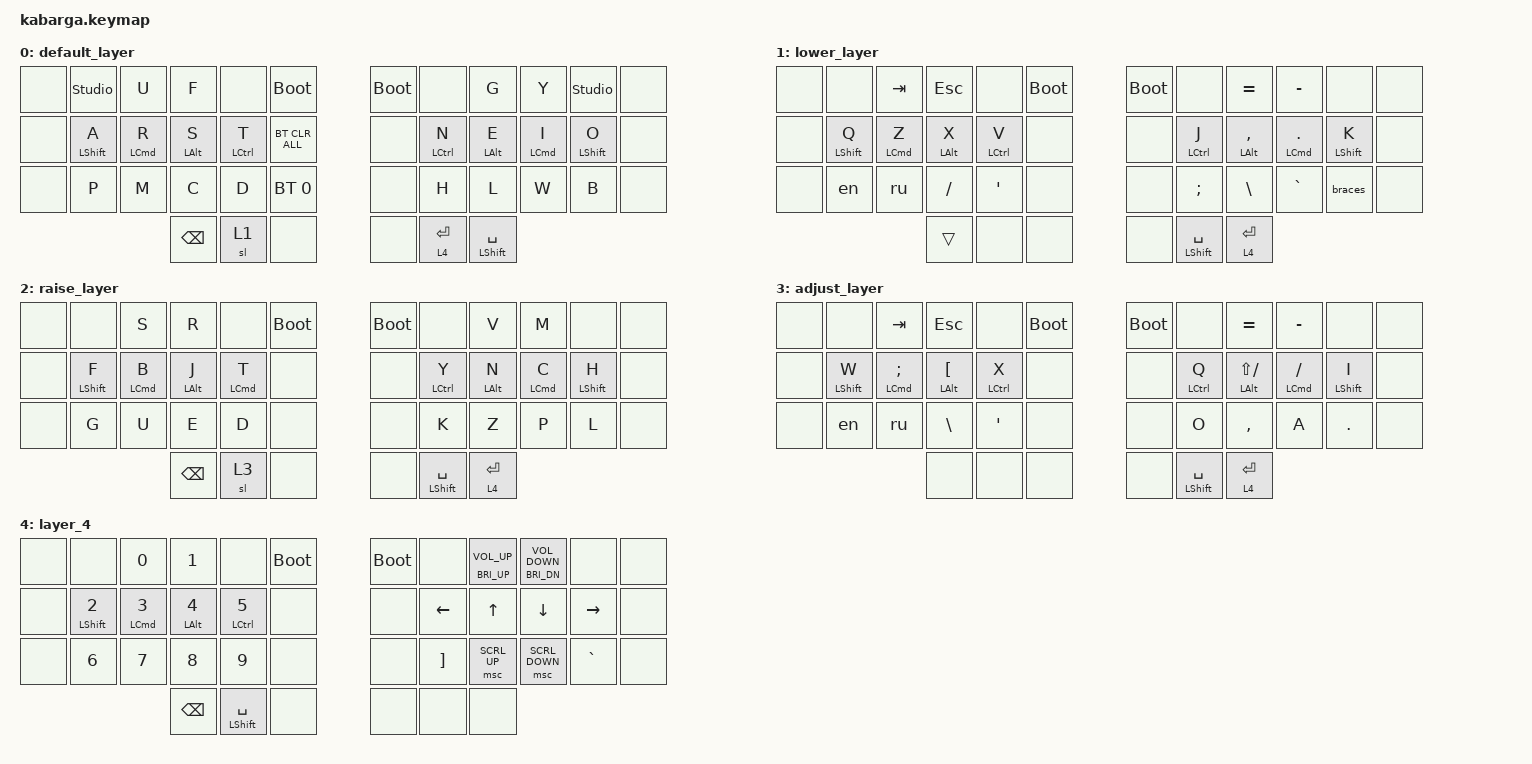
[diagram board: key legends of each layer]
/*
 * Copyright (c) 2020 The ZMK Contributors
 *
 * SPDX-License-Identifier: MIT
 */

#include <behaviors.dtsi>
#include <dt-bindings/zmk/bt.h>
#include <dt-bindings/zmk/keys.h>
#include <dt-bindings/zmk/pointing.h>

#define DEF 0
#define LWR 1
#define RSE 2
#define ADJ 3

&lt { quick_tap_ms = <220>; };

&mt { quick_tap_ms = <220>; };

/ {
    macros {
        en: en {
            compatible = "zmk,behavior-macro";
            #binding-cells = <0>;
            bindings = <&kp LA(LC(LG(E))) &to 0>;
            label = "EN";
        };

        ru: ru {
            compatible = "zmk,behavior-macro";
            #binding-cells = <0>;
            bindings = <&kp LA(LC(LG(R))) &to 2>;
            label = "RU";
        };

        braces: braces {
            compatible = "zmk,behavior-macro";
            #binding-cells = <0>;
            bindings = <&kp LEFT_BRACKET &kp RIGHT_BRACKET &kp LEFT_ARROW>;
            label = "BRACES";
        };
    };
};

/ {
    keymap {
        compatible = "zmk,keymap";

        default_layer {
            // ------------------------------------------------------------------------------------------------
            //| LGUI/] |  Q  |  W  |  E  |  R  |  T  |   |  Y  |  U   |  I  |  O  |  P  | RGUI/[ | 
            //| CTRL/` |  A  |  S  |  D  |  F  |  G  |   |  H  |  J   |  K  |  L  |  ;  | CTRL/' |
            //| LALT/\ |  Z  |  X  |  C  |  V  |  B  |   |  N  |  M   |  ,  |  .  |  /  | RALT/- |
            //                             | RSE | SPC | LWR |   | LWR | BKSP | RSE |

            bindings = <
&none  &studio_unlock    &kp U               &kp F           &none               &bootloader     &bootloader  &none               &kp G           &kp Y                 &studio_unlock    &none
&none  &mt LEFT_SHIFT A  &mt LEFT_COMMAND R  &mt LEFT_ALT S  &mt LEFT_CONTROL T  &bt BT_CLR_ALL  &none        &mt LEFT_CONTROL N  &mt LEFT_ALT E  &mt LEFT_COMMAND I    &mt LEFT_SHIFT O  &none
&none  &kp P             &kp M               &kp C           &kp D               &bt BT_SEL 0    &none        &kp H               &kp L           &kp W                 &kp B             &none
                                             &kp BACKSPACE   &sl 1               &none                        &none               &lt 4 ENTER     &mt LEFT_SHIFT SPACE
            >;
        };

        lower_layer {
            // -----------------------------------------------------------------------------------------
            //|LGUI/CAPS |  *  |  7 |  8  |  9  |  +  |    |  !  |  @  |  #  |  $  |  %  | RGUI/F1 |
            //|CTRL/MENU |  /  |  4 |  5  |  6  |  -  |    |  ^  |  &  |  *  |  (  |  )  | CTRL/F2 |
            //|  LALT/=  |  0  |  1 |  4  |  3  |  .  |    |  ls |  F4 |  F5 |  F6 |  F7 | RALT/F3 |
            //                      | ADJ | ___ | ___ |    | ___ | ___ | ADJ |

            bindings = <
&none  &none             &kp TAB             &kp ESC         &none               &bootloader  &bootloader  &none               &kp EQUAL             &kp MINUS             &none             &none
&none  &mt LEFT_SHIFT Q  &mt LEFT_COMMAND Z  &mt LEFT_ALT X  &mt LEFT_CONTROL V  &none        &none        &mt LEFT_CONTROL J  &mt LEFT_ALT COMMA    &mt LEFT_COMMAND DOT  &mt LEFT_SHIFT K  &none
&none  &en               &ru                 &kp SLASH       &kp SQT             &none        &none        &kp SEMICOLON       &kp BACKSLASH         &kp GRAVE             &braces           &none
                                             &trans          &none               &none                     &none               &mt LEFT_SHIFT SPACE  &lt 4 ENTER
            >;
        };

        raise_layer {
            // -----------------------------------------------------------------------------------------
            //| LGUI |  VOLU  |  PGUP  | PLAY | HOME | ___  |            | ___  | HOME | PLAY| PGUP | VOLU | RGUI |
            //| CTRL |  VOLD  |  LEFT  |  UP  | DOWN | RGHT |            | RGHT | DOWN | UP  | LEFT | VOLD | CTRL | 
            //| LALT |  MUTE  |  PGDN  |  ___ | END  | ___  |            | ___  | END  | ___ | PGDN | MUTE | RALT |
            //                          | ___ | ___  | ADJ  |            | ADJ  | ___  | ___ |

            bindings = <
&none  &none             &kp S               &kp R           &none               &bootloader  &bootloader  &none               &kp V                 &kp M               &none             &none
&none  &mt LEFT_SHIFT F  &mt LEFT_COMMAND B  &mt LEFT_ALT J  &mt LEFT_COMMAND T  &none        &none        &mt LEFT_CONTROL Y  &mt LEFT_ALT N        &mt LEFT_COMMAND C  &mt LEFT_SHIFT H  &none
&none  &kp G             &kp U               &kp E           &kp D               &none        &none        &kp K               &kp Z                 &kp P               &kp L             &none
                                             &kp BACKSPACE   &sl 3               &none                     &none               &mt LEFT_SHIFT SPACE  &lt 4 ENTER
            >;
        };

        adjust_layer {
            // -----------------------------------------------------------------------------------------
            //| BLDR |     |     |     |     |     |   |     |     |     |     |     | BLDR |
            //| BTCLR| BT0 | BT1 | BT2 | BT3 | BT4 |   | BT4 | BT3 | BT2 | BT1 | BT0 | BTCLR|
            //|pwrOFF|NUMLK|     |     |     |     |   |     |     |     |     |     |      |
            //                   |     |     |     |   |     |     |     |

            bindings = <
&none  &none             &kp TAB                     &kp ESC                    &none               &bootloader  &bootloader  &none               &kp EQUAL               &kp MINUS               &none             &none
&none  &mt LEFT_SHIFT W  &mt LEFT_COMMAND SEMICOLON  &mt LEFT_ALT LEFT_BRACKET  &mt LEFT_CONTROL X  &none        &none        &mt LEFT_CONTROL Q  &mt LEFT_ALT LS(SLASH)  &mt LEFT_COMMAND SLASH  &mt LEFT_SHIFT I  &none
&none  &en               &ru                         &kp BACKSLASH              &kp SINGLE_QUOTE    &none        &none        &kp O               &kp COMMA               &kp A                   &kp PERIOD        &none
                                                     &none                      &none               &none                     &none               &mt LEFT_SHIFT SPACE    &lt 4 ENTER
            >;
        };

        layer_4 {
            bindings = <
&none  &none                    &kp NUMBER_0               &kp NUMBER_1           &none                      &bootloader  &bootloader  &none              &mt C_BRI_UP C_VOLUME_UP  &mt C_BRI_DN C_VOLUME_DOWN  &none            &none
&none  &mt LEFT_SHIFT NUMBER_2  &mt LEFT_COMMAND NUMBER_3  &mt LEFT_ALT NUMBER_4  &mt LEFT_CONTROL NUMBER_5  &none        &none        &kp LEFT_ARROW     &kp UP_ARROW              &kp DOWN_ARROW              &kp RIGHT_ARROW  &none
&none  &kp NUMBER_6             &kp NUMBER_7               &kp NUMBER_8           &kp NUMBER_9               &none        &none        &kp RIGHT_BRACKET  &msc SCRL_UP              &msc SCRL_DOWN              &kp GRAVE        &none
                                                           &kp BACKSPACE          &mt LEFT_SHIFT SPACE       &none                     &none              &none                     &none
            >;
        };
    };
};
